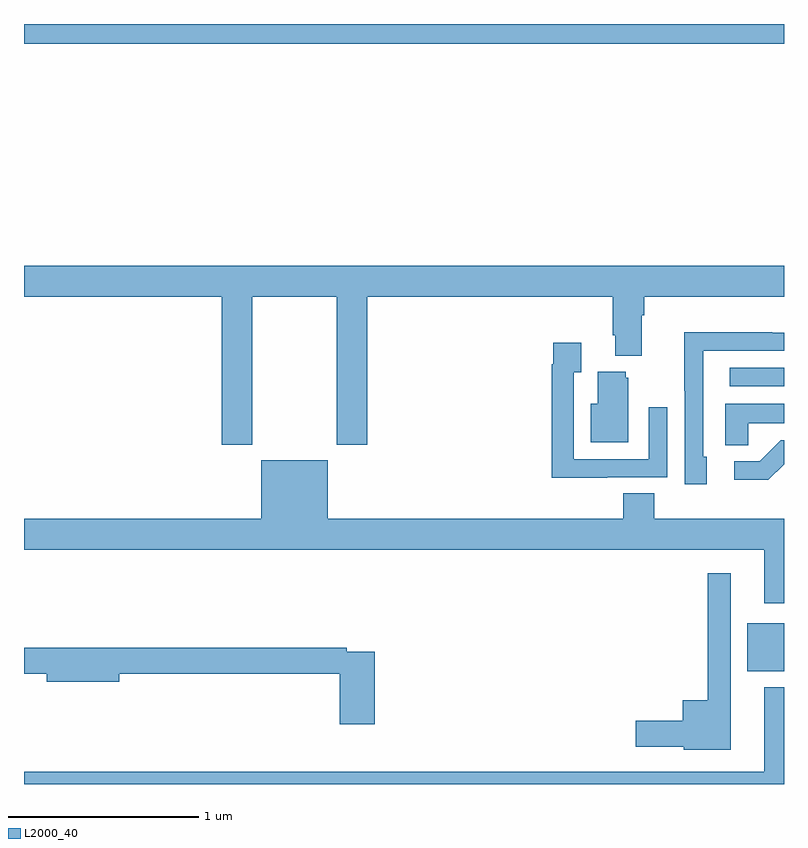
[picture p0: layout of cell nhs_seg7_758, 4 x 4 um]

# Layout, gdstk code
import gdstk
lib = gdstk.Library(unit=1e-6, precision=1e-09)
def R(c, l, rs):  # rectangles x0, y0, x1, y1
    for r in rs: c.add(gdstk.rectangle(r[:2], r[2:], *l))
def P(c, l, *ps):  # polygons
    for p in ps: c.add(gdstk.Polygon(p, *l))
L2000_40 = (2000, 40)

nhs_seg7_758 = lib.new_cell('nhs_seg7_758')
R(nhs_seg7_758, L2000_40, [(170.807,1050.593,171,1050.847), (170.715,1052.094,171,1052.19), (167,1053.896,171,1054)])
P(nhs_seg7_758, L2000_40, [(168.201,1052.564),(168.646,1052.564),(168.646,1051.785),(168.806,1051.785),(168.806,1052.564),(170.099,1052.564),(170.099,1052.362),(170.111,1052.362),(170.111,1052.255),(170.251,1052.255),(170.251,1052.468),(170.264,1052.468),(170.264,1052.564),(171,1052.564),(171,1052.728),(167,1052.728),(167,1052.564),(168.041,1052.564),(168.041,1051.785),(168.201,1051.785)],
  [(170.593,1051.722),(170.574,1051.722),(170.574,1052.28),(171,1052.28),(171,1052.376),(170.939,1052.376),(170.939,1052.378),(170.476,1052.378),(170.476,1052.071),(170.478,1052.071),(170.478,1051.578),(170.593,1051.578)],
  [(170.069,1051.614),(170.385,1051.614),(170.385,1051.984),(170.289,1051.984),(170.289,1051.71),(169.893,1051.71),(169.893,1052.167),(169.933,1052.167),(169.933,1052.323),(169.785,1052.323),(169.785,1052.21),(169.777,1052.21),(169.777,1051.613),(170.069,1051.613)],
  [(170.179,1052.139),(170.168,1052.139),(170.168,1052.17),(170.021,1052.17),(170.021,1052.002),(169.982,1052.002),(169.982,1051.799),(170.179,1051.799)],
  [(170.811,1051.898),(171,1051.898),(171,1052.002),(170.69,1052.002),(170.69,1051.783),(170.811,1051.783)],
  [(171,1051.683),(171,1051.809),(170.984,1051.809),(170.873,1051.698),(170.739,1051.698),(170.739,1051.601),(170.917,1051.601)],
  [(171,1051.396),(170.318,1051.396),(170.318,1051.529),(170.153,1051.529),(170.153,1051.396),(168.598,1051.396),(168.598,1051.705),(168.248,1051.705),(168.248,1051.396),(167,1051.396),(167,1051.232),(170.897,1051.232),(170.897,1050.951),(171,1050.951)],
  [(170.719,1051.108),(170.598,1051.108),(170.598,1050.442),(170.468,1050.442),(170.468,1050.332),(170.22,1050.332),(170.22,1050.197),(170.472,1050.197),(170.472,1050.179),(170.719,1050.179)],
  [(168.845,1050.696),(168.698,1050.696),(168.698,1050.716),(167,1050.716),(167,1050.58),(167.12,1050.58),(167.12,1050.538),(167.5,1050.538),(167.5,1050.58),(168.662,1050.58),(168.662,1050.315),(168.845,1050.315)],
  [(171,1050.508),(170.897,1050.508),(170.897,1050.064),(167,1050.064),(167,1050),(171,1050)])

lib.write_gds('nhs_seg7_758.gds')
